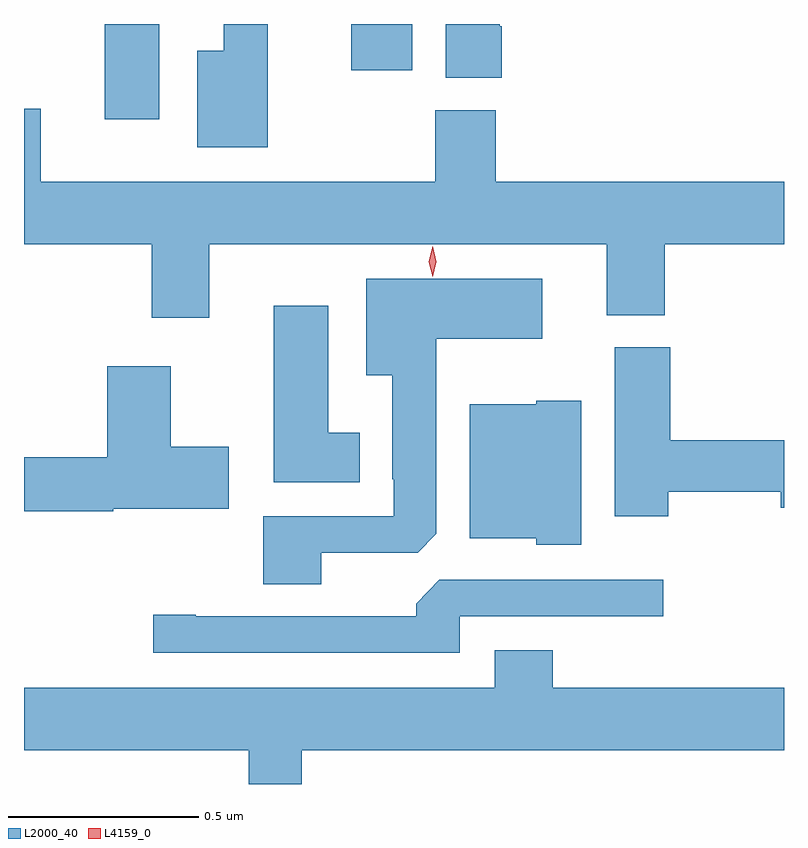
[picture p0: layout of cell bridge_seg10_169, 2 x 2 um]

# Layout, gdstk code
import gdstk
lib = gdstk.Library(unit=1e-6, precision=1e-09)
def R(c, l, rs):  # rectangles x0, y0, x1, y1
    for r in rs: c.add(gdstk.rectangle(r[:2], r[2:], *l))
def P(c, l, *ps):  # polygons
    for p in ps: c.add(gdstk.Polygon(p, *l))
L2000_40 = (2000, 40)
L4159_0 = (4159, 0)

bridge_seg10_169 = lib.new_cell('bridge_seg10_169')
R(bridge_seg10_169, L2000_40, [(232.607,1281.996,232.75,1282.247), (233.255,1282.125,233.416,1282.247)])
P(bridge_seg10_169, L2000_40, [(233.035,1282.247),(232.919,1282.247),(232.919,1282.177),(232.85,1282.177),(232.85,1281.923),(233.035,1281.923)],
  [(233.651,1282.241),(233.646,1282.241),(233.646,1282.247),(233.504,1282.247),(233.504,1282.105),(233.651,1282.105)],
  [(232.882,1281.668),(233.927,1281.668),(233.927,1281.481),(234.08,1281.481),(234.08,1281.668),(234.394,1281.668),(234.394,1281.832),(233.636,1281.832),(233.636,1282.02),(233.476,1282.02),(233.476,1281.832),(232.438,1281.832),(232.438,1282.024),(232.394,1282.024),(232.394,1281.668),(232.73,1281.668),(232.73,1281.474),(232.882,1281.474)],
  [(233.176,1280.856),(233.43,1280.856),(233.479,1280.905),(233.479,1281.419),(233.758,1281.419),(233.758,1281.577),(233.294,1281.577),(233.294,1281.323),(233.363,1281.323),(233.363,1281.049),(233.367,1281.049),(233.367,1280.952),(233.024,1280.952),(233.024,1280.773),(233.176,1280.773)],
  [(233.278,1281.172),(233.194,1281.172),(233.194,1281.505),(233.051,1281.505),(233.051,1281.041),(233.278,1281.041)],
  [(234.09,1281.016),(234.386,1281.016),(234.386,1280.974),(234.394,1280.974),(234.394,1281.152),(234.095,1281.152),(234.095,1281.396),(233.948,1281.396),(233.948,1280.952),(234.09,1280.952)],
  [(232.629,1280.972),(232.933,1280.972),(232.933,1281.135),(232.78,1281.135),(232.78,1281.346),(232.613,1281.346),(232.613,1281.107),(232.395,1281.107),(232.395,1280.965),(232.629,1280.965)],
  [(233.86,1281.256),(233.742,1281.256),(233.742,1281.247),(233.567,1281.247),(233.567,1280.894),(233.742,1280.894),(233.742,1280.876),(233.86,1280.876)],
  [(233.541,1280.688),(234.076,1280.688),(234.076,1280.784),(233.487,1280.784),(233.426,1280.722),(233.426,1280.688),(232.846,1280.688),(232.846,1280.693),(232.734,1280.693),(232.734,1280.592),(233.541,1280.592)],
  [(233.125,1280.336),(234.394,1280.336),(234.394,1280.5),(233.786,1280.5),(233.786,1280.599),(233.633,1280.599),(233.633,1280.5),(232.394,1280.5),(232.394,1280.336),(232.985,1280.336),(232.985,1280.247),(233.125,1280.247)])
P(bridge_seg10_169, L4159_0, [(233.469,1281.582),(233.469,1281.582),(233.459,1281.622),(233.469,1281.662),(233.469,1281.662),(233.469,1281.662),(233.479,1281.622),(233.47,1281.582)])

lib.write_gds('bridge_seg10_169.gds')
